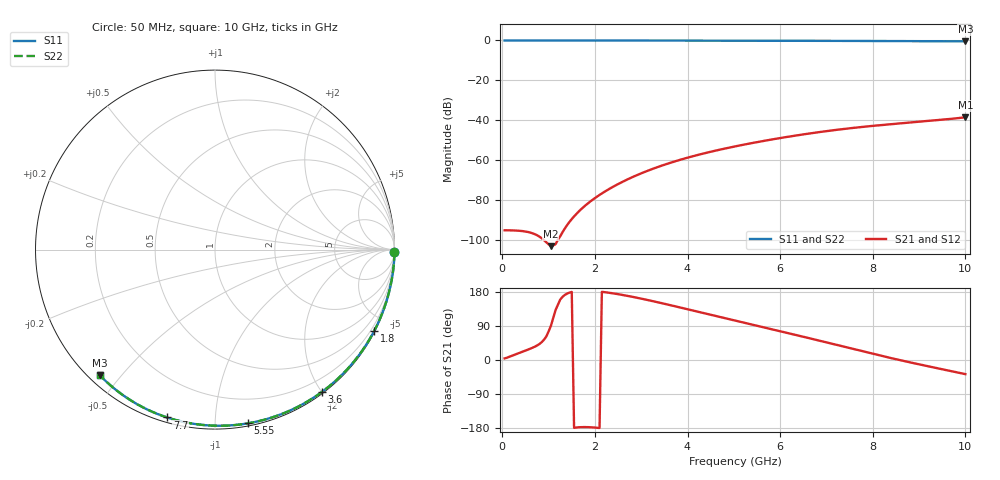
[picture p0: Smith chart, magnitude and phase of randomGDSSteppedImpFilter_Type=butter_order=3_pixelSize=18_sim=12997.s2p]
! freq	dB(S11)	phase(S11)	dB(S12)	phase(S12)
!  dB(S21)	phase(S21)	dB(S22)	phase(S22)
!S-par simulation data
#  GHz  S  DB  R 50
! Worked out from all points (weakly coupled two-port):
!   200 points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, 50 MHz to 10 GHz, reference 50 ohm
!   highest |S21| = -38.45 dB at 10 GHz (marker M1); lowest = -102.9 dB at 1.05 GHz (marker M2)
!   lowest |S11| = -0.4 dB at 10 GHz (marker M3), VSWR 38.83, Z = 1.54 - j22 ohm
!   |S11| at or under -10 dB: nowhere
!   |S22| runs from -0.4 to 0.0 dB; largest |S21 - S12| = 0
!   S11 on the Smith chart (normalised r, x): 50 MHz: open; 1.8 GHz: 0.04, -4.14; 3.6 GHz: 0.02, -2.00; 5.55 GHz: 0.02, -1.21; 7.7 GHz: 0.02, -0.75; 10 GHz: 0.03, -0.44
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0.05  -0.00 -0.8  -94.96 4.2  -94.96 4.2  -0.00 -0.8
0.55  -0.01 -8.4  -95.80 27.2  -95.80 27.2  -0.01 -8.4
1.05  -0.02 -16.0  -102.91 90.3  -102.91 90.3  -0.02 -16.0
1.75  -0.03 -26.4  -83.42 -177.0  -83.42 -177.0  -0.03 -26.4
1.8  -0.03 -27.2  -82.42 -177.0  -82.42 -177.0  -0.03 -27.1
1.9  -0.04 -28.6  -80.57 -177.4  -80.57 -177.4  -0.04 -28.6
1.95  -0.04 -29.4  -79.69 -177.8  -79.69 -177.8  -0.04 -29.4
2.25  -0.04 -33.8  -75.08 178.4  -75.08 178.4  -0.04 -33.8
2.55  -0.05 -38.2  -71.24 172.7  -71.24 172.7  -0.05 -38.1
2.95  -0.06 -43.9  -66.95 163.2  -66.95 163.2  -0.06 -43.9
3.4  -0.07 -50.3  -62.96 151.2  -62.96 151.2  -0.07 -50.3
3.6  -0.07 -53.1  -61.41 145.5  -61.41 145.5  -0.07 -53.1
3.9  -0.08 -57.3  -59.29 136.9  -59.29 136.9  -0.08 -57.2
4.25  -0.09 -62.1  -57.10 126.7  -57.10 126.7  -0.09 -62.0
5.05  -0.11 -72.8  -52.88 103.5  -52.88 103.5  -0.11 -72.7
5.55  -0.13 -79.3  -50.65 89.1  -50.65 89.1  -0.13 -79.3
6.1  -0.15 -86.3  -48.44 73.1  -48.44 73.1  -0.15 -86.3
6.7  -0.18 -93.8  -46.31 55.4  -46.31 55.4  -0.18 -93.7
7.7  -0.24 -105.9  -43.44 25.3  -43.44 25.3  -0.24 -105.8
8.35  -0.29 -113.6  -41.98 6.3  -41.98 6.3  -0.29 -113.5
9.15  -0.36 -122.8  -40.38 -15.4  -40.38 -15.4  -0.36 -122.7
10  -0.45 -132.5  -38.45 -37.3  -38.45 -37.3  -0.45 -132.4
